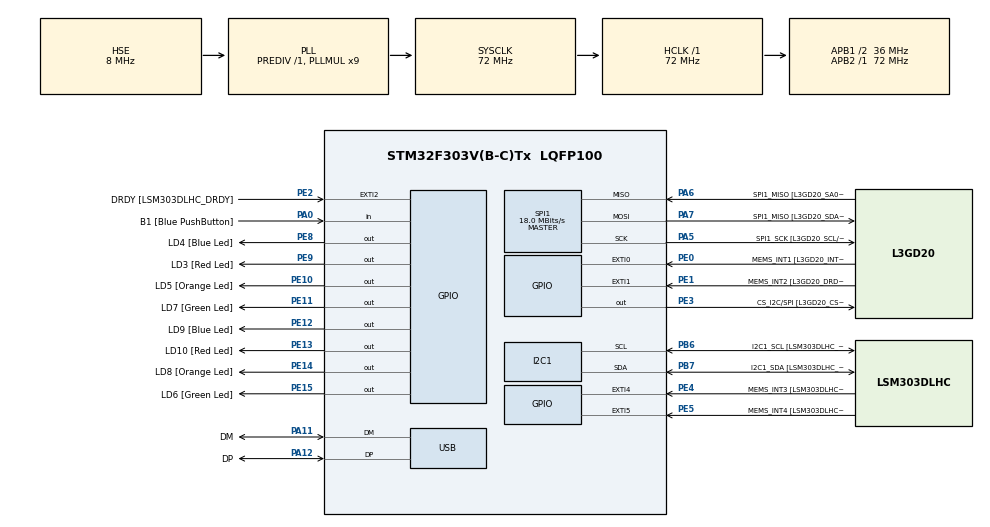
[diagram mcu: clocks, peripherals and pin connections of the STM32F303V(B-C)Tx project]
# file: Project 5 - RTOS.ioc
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FREERTOS.CountingSemaphores01=sem_job,5,Dynamic,NULL
FREERTOS.Mutexes01=mutex_job,Dynamic,NULL
FREERTOS.Queues01=itemQueue,5,uint16_t,0,Dynamic,NULL,NULL
FREERTOS.Tasks01=Producer,24,128,producer_func,Default,NULL,Dynamic,NULL,NULL;Consumer,24,128,consumer_func,Default,NULL,Dynamic,NULL,NULL
I2C1.Timing-I2C=0x2000090E
Mcu.Family=STM32F3
Mcu.Name=STM32F303V(B-C)Tx
Mcu.Package=LQFP100
NVIC.PriorityGroup=NVIC_PRIORITYGROUP_4
NVIC.TIM1_UP_TIM16_IRQn=true\:0\:0\:false\:false\:true\:false\:false\:true
NVIC.TimeBase=TIM1_UP_TIM16_IRQn
NVIC.TimeBaseIP=TIM1
PA0.GPIO_Label=B1 [Blue PushButton]
PA0.Signal=GPIO_Input
PA11.GPIO_Label=DM
PA11.Mode=Device
PA11.Signal=USB_DM
PA12.GPIO_Label=DP
PA12.Mode=Device
PA12.Signal=USB_DP
PA13.GPIO_Label=SWDIO
PA13.Mode=Serial_Wire
PA13.Signal=SYS_JTMS-SWDIO
PA14.GPIO_Label=SWCLK
PA14.Mode=Serial_Wire
PA14.Signal=SYS_JTCK-SWCLK
PA5.GPIO_Label=SPI1_SCK [L3GD20_SCL/SPC]
PA5.Mode=Full_Duplex_Master
PA5.Signal=SPI1_SCK
PA6.GPIO_Label=SPI1_MISO [L3GD20_SA0/SDO]
PA6.Mode=Full_Duplex_Master
PA6.Signal=SPI1_MISO
PA7.GPIO_Label=SPI1_MISO [L3GD20_SDA/SDI/SDO]
PA7.Mode=Full_Duplex_Master
PA7.Signal=SPI1_MOSI
PB3.GPIO_Label=SWO
PB3.Signal=SYS_JTDO-TRACESWO
PB6.GPIO_Label=I2C1_SCL [LSM303DLHC_SCL]
PB6.Mode=I2C
PB6.Signal=I2C1_SCL
PB7.GPIO_Label=I2C1_SDA [LSM303DLHC_SDA]
PB7.Mode=I2C
PB7.Signal=I2C1_SDA
PC14-OSC32_IN.GPIO_Label=OSC32_IN
PC14-OSC32_IN.Signal=RCC_OSC32_IN
PC15-OSC32_OUT.GPIO_Label=OSC32_OUT
PC15-OSC32_OUT.Signal=RCC_OSC32_OUT
PE0.GPIO_Label=MEMS_INT1 [L3GD20_INT1]
PE0.GPIO_ModeDefaultEXTI=GPIO_MODE_EVT_RISING
PE0.Signal=GPXTI0
PE1.GPIO_Label=MEMS_INT2 [L3GD20_DRDY/INT2]
PE1.GPIO_ModeDefaultEXTI=GPIO_MODE_EVT_RISING
PE1.Signal=GPXTI1
PE10.GPIO_Label=LD5 [Orange Led]
PE10.Signal=GPIO_Output
PE11.GPIO_Label=LD7 [Green Led]
PE11.Signal=GPIO_Output
PE12.GPIO_Label=LD9 [Blue Led]
PE12.Signal=GPIO_Output
PE13.GPIO_Label=LD10 [Red Led]
PE13.Signal=GPIO_Output
PE14.GPIO_Label=LD8 [Orange Led]
PE14.Signal=GPIO_Output
PE15.GPIO_Label=LD6 [Green Led]
PE15.Signal=GPIO_Output
PE2.GPIO_Label=DRDY [LSM303DLHC_DRDY]
PE2.GPIO_ModeDefaultEXTI=GPIO_MODE_EVT_RISING
PE2.Signal=GPXTI2
PE3.GPIO_Label=CS_I2C/SPI [L3GD20_CS_I2C/SPI]
PE3.Signal=GPIO_Output
PE4.GPIO_Label=MEMS_INT3 [LSM303DLHC_INT1]
PE4.GPIO_ModeDefaultEXTI=GPIO_MODE_EVT_RISING
PE4.Signal=GPXTI4
PE5.GPIO_Label=MEMS_INT4 [LSM303DLHC_INT2]
PE5.GPIO_ModeDefaultEXTI=GPIO_MODE_EVT_RISING
PE5.Signal=GPXTI5
PE8.GPIO_Label=LD4 [Blue Led]
PE8.Signal=GPIO_Output
PE9.GPIO_Label=LD3 [Red Led]
PE9.Signal=GPIO_Output
PF0-OSC_IN.GPIO_Label=OSC_IN
PF0-OSC_IN.Mode=HSE-External-Oscillator
PF0-OSC_IN.Signal=RCC_OSC_IN
PF1-OSC_OUT.GPIO_Label=OSC_OUT
PF1-OSC_OUT.Mode=HSE-External-Oscillator
PF1-OSC_OUT.Signal=RCC_OSC_OUT
ProjectManager.HeapSize=0x200
ProjectManager.StackSize=0x400
ProjectManager.TargetToolchain=STM32CubeIDE
RCC.AHBFreq_Value=72000000
RCC.APB1CLKDivider=RCC_HCLK_DIV2
RCC.APB1Freq_Value=36000000
RCC.APB1TimFreq_Value=72000000
RCC.APB2Freq_Value=72000000
RCC.APB2TimFreq_Value=72000000
RCC.CortexFreq_Value=72000000
RCC.HCLKFreq_Value=72000000
RCC.HSE_VALUE=8000000
RCC.HSI_VALUE=8000000
RCC.LSE_VALUE=32768
RCC.PLLMUL=RCC_PLL_MUL9
RCC.PRESCALERUSB=RCC_USBCLKSOURCE_PLL_DIV1_5
RCC.SYSCLKFreq_VALUE=72000000
RCC.SYSCLKSourceVirtual=RCC_SYSCLKSOURCE_PLLCLK
RCC.USBFreq_Value=48000000
SPI1.BaudRatePrescaler=SPI_BAUDRATEPRESCALER_4
SPI1.BaudRatePrescaler-Full_Duplex_Master=SPI_BAUDRATEPRESCALER_2
SPI1.CalculateBaudRate=18.0 MBits/s
SPI1.CalculateBaudRate-Full_Duplex_Master=24.0 MBits/s
SPI1.Direction=SPI_DIRECTION_2LINES
SPI1.Mode=SPI_MODE_MASTER
SPI1.Mode-Full_Duplex_Master=SPI_MODE_MASTER
SPI1.VirtualType=VM_MASTER
VP_FREERTOS_VS_CMSIS_V2.Mode=CMSIS_V2
VP_SYS_VS_tim1.Mode=TIM1
board=STM32F3DISCOVERY

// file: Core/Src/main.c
/* USER CODE BEGIN Header */
/**
  ******************************************************************************
  * @file           : main.c
  * @brief          : Main program body
  ******************************************************************************
  * @attention
  *
  * <h2><center>&copy; Copyright (c) 2020 STMicroelectronics.
  * All rights reserved.</center></h2>
  *
  * This software component is licensed by ST under BSD 3-Clause license,
  * the "License"; You may not use this file except in compliance with the
  * License. You may obtain a copy of the License at:
  *                        opensource.org/licenses/BSD-3-Clause
  *
  ******************************************************************************
  */
/* USER CODE END Header */
#include "main.h"
#include "cmsis_os.h"

I2C_HandleTypeDef hi2c1;

SPI_HandleTypeDef hspi1;

PCD_HandleTypeDef hpcd_USB_FS;

/* Definitions for Producer */
osThreadId_t ProducerHandle;
const osThreadAttr_t Producer_attributes = {
  .name = "Producer",
  .priority = (osPriority_t) osPriorityNormal,
  .stack_size = 128 * 4
};
/* Definitions for Consumer */
osThreadId_t ConsumerHandle;
const osThreadAttr_t Consumer_attributes = {
  .name = "Consumer",
  .priority = (osPriority_t) osPriorityNormal,
  .stack_size = 128 * 4
};
/* Definitions for itemQueue */
osMessageQueueId_t itemQueueHandle;
const osMessageQueueAttr_t itemQueue_attributes = {
  .name = "itemQueue"
};
/* Definitions for mutex_job */
osMutexId_t mutex_jobHandle;
const osMutexAttr_t mutex_job_attributes = {
  .name = "mutex_job"
};
/* Definitions for sem_job */
osSemaphoreId_t sem_jobHandle;
const osSemaphoreAttr_t sem_job_attributes = {
  .name = "sem_job"
};

void SystemClock_Config(void);
static void MX_GPIO_Init(void);
static void MX_I2C1_Init(void);
static void MX_SPI1_Init(void);
static void MX_USB_PCD_Init(void);
void producer_func(void *argument);
void consumer_func(void *argument);

int main(void)
{

  /* MCU Configuration--------------------------------------------------------*/

  /* Reset of all peripherals, Initializes the Flash interface and the Systick. */
  HAL_Init();

  /* Configure the system clock */
  SystemClock_Config();

  /* Initialize all configured peripherals */
  MX_GPIO_Init();
  MX_I2C1_Init();
  MX_SPI1_Init();
  MX_USB_PCD_Init();

  /* Init scheduler */
  osKernelInitialize();
  /* Create the mutex(es) */
  /* creation of mutex_job */
  mutex_jobHandle = osMutexNew(&mutex_job_attributes);

  /* Create the semaphores(s) */
  /* creation of sem_job */
  sem_jobHandle = osSemaphoreNew(5, 5, &sem_job_attributes);

  /* Create the queue(s) */
  /* creation of itemQueue */
  itemQueueHandle = osMessageQueueNew (5, sizeof(uint16_t), &itemQueue_attributes);

  /* Create the thread(s) */
  /* creation of Producer */
  ProducerHandle = osThreadNew(producer_func, NULL, &Producer_attributes);

  /* creation of Consumer */
  ConsumerHandle = osThreadNew(consumer_func, NULL, &Consumer_attributes);

  /* Start scheduler */
  osKernelStart();

  /* We should never get here as control is now taken by the scheduler */
  /* Infinite loop */
  while (1)
  {

  }
}

void SystemClock_Config(void)
{
  RCC_OscInitTypeDef RCC_OscInitStruct = {0};
  RCC_ClkInitTypeDef RCC_ClkInitStruct = {0};
  RCC_PeriphCLKInitTypeDef PeriphClkInit = {0};

  /** Initializes the RCC Oscillators according to the specified parameters
  * in the RCC_OscInitTypeDef structure.
  */
  RCC_OscInitStruct.OscillatorType = RCC_OSCILLATORTYPE_HSI|RCC_OSCILLATORTYPE_HSE;
  RCC_OscInitStruct.HSEState = RCC_HSE_ON;
  RCC_OscInitStruct.HSEPredivValue = RCC_HSE_PREDIV_DIV1;
  RCC_OscInitStruct.HSIState = RCC_HSI_ON;
  RCC_OscInitStruct.HSICalibrationValue = RCC_HSICALIBRATION_DEFAULT;
  RCC_OscInitStruct.PLL.PLLState = RCC_PLL_ON;
  RCC_OscInitStruct.PLL.PLLSource = RCC_PLLSOURCE_HSE;
  RCC_OscInitStruct.PLL.PLLMUL = RCC_PLL_MUL9;
  if (HAL_RCC_OscConfig(&RCC_OscInitStruct) != HAL_OK)
  {
    Error_Handler();
  }
  /** Initializes the CPU, AHB and APB buses clocks
  */
  RCC_ClkInitStruct.ClockType = RCC_CLOCKTYPE_HCLK|RCC_CLOCKTYPE_SYSCLK
                              |RCC_CLOCKTYPE_PCLK1|RCC_CLOCKTYPE_PCLK2;
  RCC_ClkInitStruct.SYSCLKSource = RCC_SYSCLKSOURCE_PLLCLK;
  RCC_ClkInitStruct.AHBCLKDivider = RCC_SYSCLK_DIV1;
  RCC_ClkInitStruct.APB1CLKDivider = RCC_HCLK_DIV2;
  RCC_ClkInitStruct.APB2CLKDivider = RCC_HCLK_DIV1;

  if (HAL_RCC_ClockConfig(&RCC_ClkInitStruct, FLASH_LATENCY_2) != HAL_OK)
  {
    Error_Handler();
  }
  PeriphClkInit.PeriphClockSelection = RCC_PERIPHCLK_USB|RCC_PERIPHCLK_I2C1;
  PeriphClkInit.I2c1ClockSelection = RCC_I2C1CLKSOURCE_HSI;
  PeriphClkInit.USBClockSelection = RCC_USBCLKSOURCE_PLL_DIV1_5;
  if (HAL_RCCEx_PeriphCLKConfig(&PeriphClkInit) != HAL_OK)
  {
    Error_Handler();
  }
}

static void MX_I2C1_Init(void)
{

  hi2c1.Instance = I2C1;
  hi2c1.Init.Timing = 0x2000090E;
  hi2c1.Init.OwnAddress1 = 0;
  hi2c1.Init.AddressingMode = I2C_ADDRESSINGMODE_7BIT;
  hi2c1.Init.DualAddressMode = I2C_DUALADDRESS_DISABLE;
  hi2c1.Init.OwnAddress2 = 0;
  hi2c1.Init.OwnAddress2Masks = I2C_OA2_NOMASK;
  hi2c1.Init.GeneralCallMode = I2C_GENERALCALL_DISABLE;
  hi2c1.Init.NoStretchMode = I2C_NOSTRETCH_DISABLE;
  if (HAL_I2C_Init(&hi2c1) != HAL_OK)
  {
    Error_Handler();
  }
  /** Configure Analogue filter
  */
  if (HAL_I2CEx_ConfigAnalogFilter(&hi2c1, I2C_ANALOGFILTER_ENABLE) != HAL_OK)
  {
    Error_Handler();
  }
  /** Configure Digital filter
  */
  if (HAL_I2CEx_ConfigDigitalFilter(&hi2c1, 0) != HAL_OK)
  {
    Error_Handler();
  }

}

static void MX_SPI1_Init(void)
{

  /* SPI1 parameter configuration*/
  hspi1.Instance = SPI1;
  hspi1.Init.Mode = SPI_MODE_MASTER;
  hspi1.Init.Direction = SPI_DIRECTION_2LINES;
  hspi1.Init.DataSize = SPI_DATASIZE_4BIT;
  hspi1.Init.CLKPolarity = SPI_POLARITY_LOW;
  hspi1.Init.CLKPhase = SPI_PHASE_1EDGE;
  hspi1.Init.NSS = SPI_NSS_SOFT;
  hspi1.Init.BaudRatePrescaler = SPI_BAUDRATEPRESCALER_4;
  hspi1.Init.FirstBit = SPI_FIRSTBIT_MSB;
  hspi1.Init.TIMode = SPI_TIMODE_DISABLE;
  hspi1.Init.CRCCalculation = SPI_CRCCALCULATION_DISABLE;
  hspi1.Init.CRCPolynomial = 7;
  hspi1.Init.CRCLength = SPI_CRC_LENGTH_DATASIZE;
  hspi1.Init.NSSPMode = SPI_NSS_PULSE_ENABLE;
  if (HAL_SPI_Init(&hspi1) != HAL_OK)
  {
    Error_Handler();
  }

}

static void MX_USB_PCD_Init(void)
{

  hpcd_USB_FS.Instance = USB;
  hpcd_USB_FS.Init.dev_endpoints = 8;
  hpcd_USB_FS.Init.speed = PCD_SPEED_FULL;
  hpcd_USB_FS.Init.phy_itface = PCD_PHY_EMBEDDED;
  hpcd_USB_FS.Init.low_power_enable = DISABLE;
  hpcd_USB_FS.Init.battery_charging_enable = DISABLE;
  if (HAL_PCD_Init(&hpcd_USB_FS) != HAL_OK)
  {
    Error_Handler();
  }

}

static void MX_GPIO_Init(void)
{
  GPIO_InitTypeDef GPIO_InitStruct = {0};

  /* GPIO Ports Clock Enable */
  __HAL_RCC_GPIOE_CLK_ENABLE();
  __HAL_RCC_GPIOC_CLK_ENABLE();
  __HAL_RCC_GPIOF_CLK_ENABLE();
  __HAL_RCC_GPIOA_CLK_ENABLE();
  __HAL_RCC_GPIOB_CLK_ENABLE();

  /*Configure GPIO pin Output Level */
  HAL_GPIO_WritePin(GPIOE, CS_I2C_SPI_Pin|LD4_Pin|LD3_Pin|LD5_Pin
                          |LD7_Pin|LD9_Pin|LD10_Pin|LD8_Pin
                          |LD6_Pin, GPIO_PIN_RESET);

  /*Configure GPIO pins : DRDY_Pin MEMS_INT3_Pin MEMS_INT4_Pin MEMS_INT1_Pin
                           MEMS_INT2_Pin */
  GPIO_InitStruct.Pin = DRDY_Pin|MEMS_INT3_Pin|MEMS_INT4_Pin|MEMS_INT1_Pin
                          |MEMS_INT2_Pin;
  GPIO_InitStruct.Mode = GPIO_MODE_EVT_RISING;
  GPIO_InitStruct.Pull = GPIO_NOPULL;
  HAL_GPIO_Init(GPIOE, &GPIO_InitStruct);

  /*Configure GPIO pins : CS_I2C_SPI_Pin LD4_Pin LD3_Pin LD5_Pin
                           LD7_Pin LD9_Pin LD10_Pin LD8_Pin
                           LD6_Pin */
  GPIO_InitStruct.Pin = CS_I2C_SPI_Pin|LD4_Pin|LD3_Pin|LD5_Pin
                          |LD7_Pin|LD9_Pin|LD10_Pin|LD8_Pin
                          |LD6_Pin;
  GPIO_InitStruct.Mode = GPIO_MODE_OUTPUT_PP;
  GPIO_InitStruct.Pull = GPIO_NOPULL;
  GPIO_InitStruct.Speed = GPIO_SPEED_FREQ_LOW;
  HAL_GPIO_Init(GPIOE, &GPIO_InitStruct);

  /*Configure GPIO pin : B1_Pin */
  GPIO_InitStruct.Pin = B1_Pin;
  GPIO_InitStruct.Mode = GPIO_MODE_INPUT;
  GPIO_InitStruct.Pull = GPIO_NOPULL;
  HAL_GPIO_Init(B1_GPIO_Port, &GPIO_InitStruct);

}

void producer_func(void *argument)
{
  /* USER CODE BEGIN 5 */
	/* Infinite loop */
	osStatus_t status;

	uint16_t msg = 0x1;
	int timeout = 0x0;

	for(;;)
	{
		status = osSemaphoreAcquire(sem_jobHandle, 0);
		if(osOK != status) goto end;
		osMutexAcquire(mutex_jobHandle, 0);
		HAL_GPIO_WritePin(LD3_GPIO_Port, LD3_Pin, GPIO_PIN_SET);
		/* Put a value into the list. */
		status = osMessageQueuePut(itemQueueHandle, &msg, 0, timeout);
		++msg;
		osMutexRelease(mutex_jobHandle);
		if(osOK == status) continue;

end:
		HAL_GPIO_WritePin(LD3_GPIO_Port, LD3_Pin, GPIO_PIN_RESET);
		osDelay(1000);
	}
  /* USER CODE END 5 */
}

void consumer_func(void *argument)
{
  /* USER CODE BEGIN consumer_func */
	/* Infinite loop */
	uint16_t msg = 0x0;
	int timeout = 0x0;
	osStatus_t status;
	for(;;)
	{
		status = osSemaphoreRelease(sem_jobHandle);
		if(osOK != status) goto end;
		osMutexAcquire(mutex_jobHandle, 0);
		HAL_GPIO_WritePin(LD3_GPIO_Port, LD4_Pin, GPIO_PIN_SET);
		status = osMessageQueueGet(itemQueueHandle, &msg, 0, timeout);
		osMutexRelease(mutex_jobHandle);
		if(osOK == status) continue;

end:
		HAL_GPIO_WritePin(LD3_GPIO_Port, LD4_Pin, GPIO_PIN_RESET);
		osDelay(1000);
	}
  /* USER CODE END consumer_func */
}

 /**
  * @brief  Period elapsed callback in non blocking mode
  * @note   This function is called  when TIM1 interrupt took place, inside
  * HAL_TIM_IRQHandler(). It makes a direct call to HAL_IncTick() to increment
  * a global variable "uwTick" used as application time base.
  * @param  htim : TIM handle
  * @retval None
  */
void HAL_TIM_PeriodElapsedCallback(TIM_HandleTypeDef *htim)
{
  if (htim->Instance == TIM1) {
    HAL_IncTick();
  }
}

void Error_Handler(void)
{
  __disable_irq();
  while (1)
  {
  }
}

/************************ (C) COPYRIGHT STMicroelectronics *****END OF FILE****/
